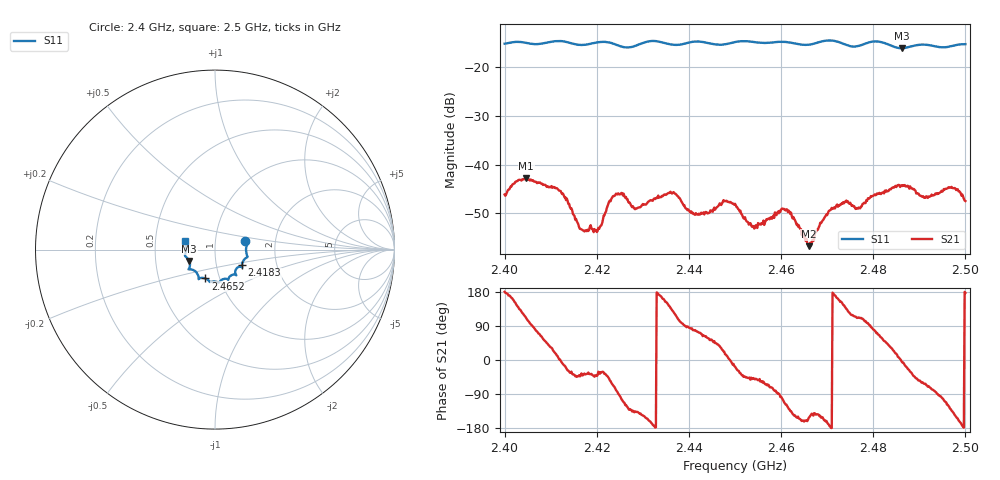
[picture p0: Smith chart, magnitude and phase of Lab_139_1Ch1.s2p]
# Hz S RI R 50
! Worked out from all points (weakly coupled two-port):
!   601 points, 2.4 GHz to 2.5 GHz, reference 50 ohm
!   highest |S21| = -42.84 dB at 2.4047 GHz (marker M1); lowest = -56.8 dB at 2.466 GHz (marker M2)
!   lowest |S11| = -16.1 dB at 2.4862 GHz (marker M3), VSWR 1.37, Z = 37.2 - j4.85 ohm
!   |S11| at or under -10 dB: start of sweep to end of sweep
!   S12 and S22 are empty: the file has one direction only
!   S11 on the Smith chart (normalised r, x): 2.4 GHz: 1.40, +0.13; 2.4183 GHz: 1.33, -0.24; 2.4652 GHz: 0.85, -0.28; 2.5 GHz: 0.71, +0.07
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2.4e9  0.1684 0.0466  -0.00491 6.83e-06  0 0  0 0
2.404667e9  0.1767 0.0218  -0.00259 0.00673  0 0  0 0
2.411833e9  0.1817 -0.0406  0.00539 0.000167  0 0  0 0
2.416667e9  0.1551 -0.0679  0.00176 -0.00124  0 0  0 0
2.418333e9  0.1501 -0.0867  0.0017 -0.00128  0 0  0 0
2.4205e9  0.1513 -0.0998  0.00184 -0.00117  0 0  0 0
2.424167e9  0.1413 -0.0954  0.000927 -0.00493  0 0  0 0
2.4285e9  0.1126 -0.1231  -0.0026 -0.00241  0 0  0 0
2.433333e9  0.1175 -0.1415  -0.00477 0.000527  0 0  0 0
2.437e9  0.0908 -0.1433  -0.00254 0.0043  0 0  0 0
2.4415e9  0.0739 -0.1681  0.000727 0.00308  0 0  0 0
2.45e9  0.0257 -0.1796  0.00376 -0.00117  0 0  0 0
2.454333e9  0.0124 -0.1806  0.0014 -0.00173  0 0  0 0
2.460833e9  -0.0295 -0.1796  -0.00143 -0.00309  0 0  0 0
2.465167e9  -0.0544 -0.1609  -0.00167 -0.000612  0 0  0 0
2.466e9  -0.0635 -0.1582  -0.00129 -0.000664  0 0  0 0
2.466667e9  -0.0709 -0.1574  -0.00125 -0.000991  0 0  0 0
2.470833e9  -0.0912 -0.1647  -0.00344 -4.51e-05  0 0  0 0
2.483333e9  -0.1411 -0.0966  0.00414 0.00339  0 0  0 0
2.486167e9  -0.1432 -0.0636  0.00611 -0.00042  0 0  0 0
2.497333e9  -0.1635 0.0301  -0.00426 -0.00378  0 0  0 0
2.5e9  -0.1661 0.0474  -0.00421 0.000209  0 0  0 0
